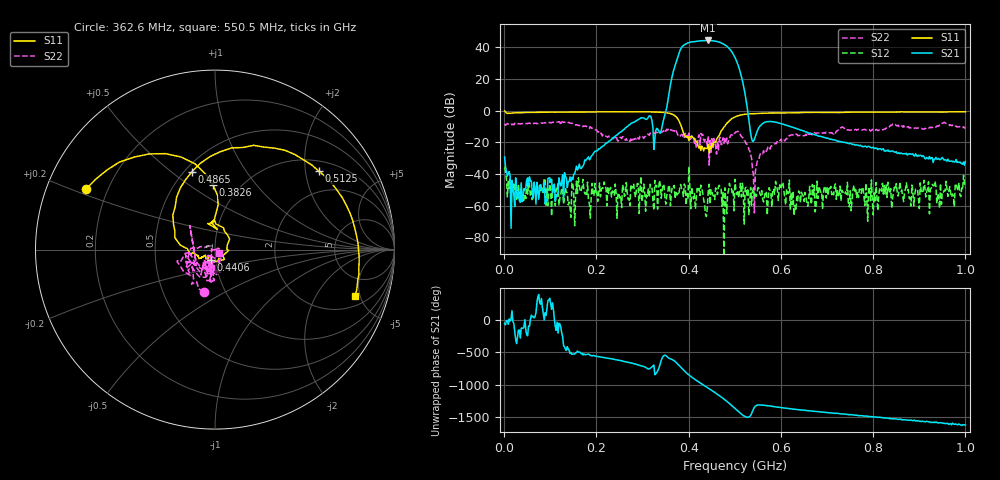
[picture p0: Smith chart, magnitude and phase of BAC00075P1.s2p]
!measured: 2026-10-27T15:11:33
!cal_instance: BBtestOct27
!cal_created: 2026-10-27T14:45
!cal_file: BBtesting.cal
!port1_delay_ps: -58.63
!port2_delay_ps: -59.31
!host: dhcp-10-250-247-203.harvard.edu
! Created with skrf 2.1.0 (http://scikit-rf.org).
# Hz S RI R 50.0
!freq ReS11 ImS11 ReS21 ImS21 ReS12 ImS12 ReS22 ImS22
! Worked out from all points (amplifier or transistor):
!   501 points, 1 MHz to 1 GHz, reference 50 ohm
!   highest |S21| = 44.4 dB at 442.6 MHz (marker M1)
!   |S21| within 3 dB of that: 389.5 MHz to 479.7 MHz (90.19 MHz wide, 20.8 % of centre)
!   unconditionally stable (mu >= 1): start of sweep to 400.1 MHz; 401.6 MHz to 500.5 MHz; 500.7 MHz to end of sweep
!   at 166.8 MHz: K = 1778.69, MAG = -28.5 dB, |S12| = -50.6 dB
!   at 500.5 MHz: K = 0.92, MSG = 38.5 dB, |S12| = -43.3 dB
!   at 1 GHz: K = 711.83, MAG = -23.2 dB, |S12| = -48.7 dB
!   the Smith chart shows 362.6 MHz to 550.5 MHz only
!   S11 on the Smith chart (normalised r, x): 362.6 MHz: 0.12, +0.22; 382.6 MHz: 0.75, +0.63; 440.6 MHz: 0.95, -0.11; 486.5 MHz: 0.54, +0.59; 512.5 MHz: 1.29, +2.38; 550.5 MHz: 2.86, -4.48
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1000000  -0.3726 0.9117  0.0204 -0.0277  -0.00786 0.0141  0.3707 -0.0868
1.68832e8  0.5076 -0.7557  -0.0151 -0.00655  -0.000361 0.00375  -0.0379 -0.3349
3.34666e8  -0.8246 -0.37  0.1844 -0.1481  0.0032 -0.000298  0.034 -0.2122
3.62638e8  -0.7164 0.3385  -3.619 8.945  -0.00256 -0.000254  -0.062 -0.2336
3.74626e8  -0.2765 0.5346  26.6 31.33  0.00217 5.11e-05  -0.1192 -0.168
3.82618e8  -0.0109 0.3609  86.53 -15.28  0.00218 0.00415  -0.1628 -0.0302
3.88612e8  0.00495 0.201  69.16 -91.77  0.0018 0.000727  -0.1122 -0.0707
3.96604e8  -0.0364 0.1438  -41.96 -128.8  -0.00133 -0.00205  -0.1522 -0.0669
4.1059e8  0.0235 0.1339  -151.1 14.49  0.00121 0.00109  -0.0786 -0.141
4.26574e8  0.0434 -0.0343  -21.44 160  -0.00189 -0.00404  -0.0313 -0.1874
4.4056e8  -0.0247 -0.0584  139.3 89.86  -0.000832 0.00038  -0.0231 -0.0702
4.42558e8  -0.044 -0.0742  151.7 66.93  0.00292 0.000655  -0.0221 -0.1557
4.52548e8  -0.0644 -0.0386  149.1 -64.1  -0.00175 -0.00116  -0.0122 -0.0672
4.64536e8  -0.1551 0.00703  20.66 -147.7  0.00269 -0.00289  0.0322 -0.0481
4.76524e8  -0.2349 0.1928  -103 -71.63  -4.76e-06 -1.87e-05  -0.00245 -0.0937
4.86514e8  -0.1278 0.4345  -89.15 38.16  -0.00285 -0.00124  -0.00446 -0.1188
5.005e8  0.2655 0.5722  17.54 44.53  -0.00515 -0.00449  -0.1363 -0.1445
5.12488e8  0.5799 0.4361  15.35 -2.124  0.00263 -0.00435  -0.1653 -0.0205
5.5045e8  0.7794 -0.2564  -0.1392 0.2181  -0.0033 -0.00175  0.0198 -0.0195
6.68332e8  0.096 -0.8744  0.1657 0.083  -0.000325 -0.00466  0.0369 -0.1701
8.34166e8  -0.567 -0.6891  0.0047 -0.0518  3.62e-05 0.00348  -0.167 -0.2483
1e9  -0.8806 -0.2848  -0.0247 0.00398  0.0031 -0.00198  -0.2361 -0.1747
